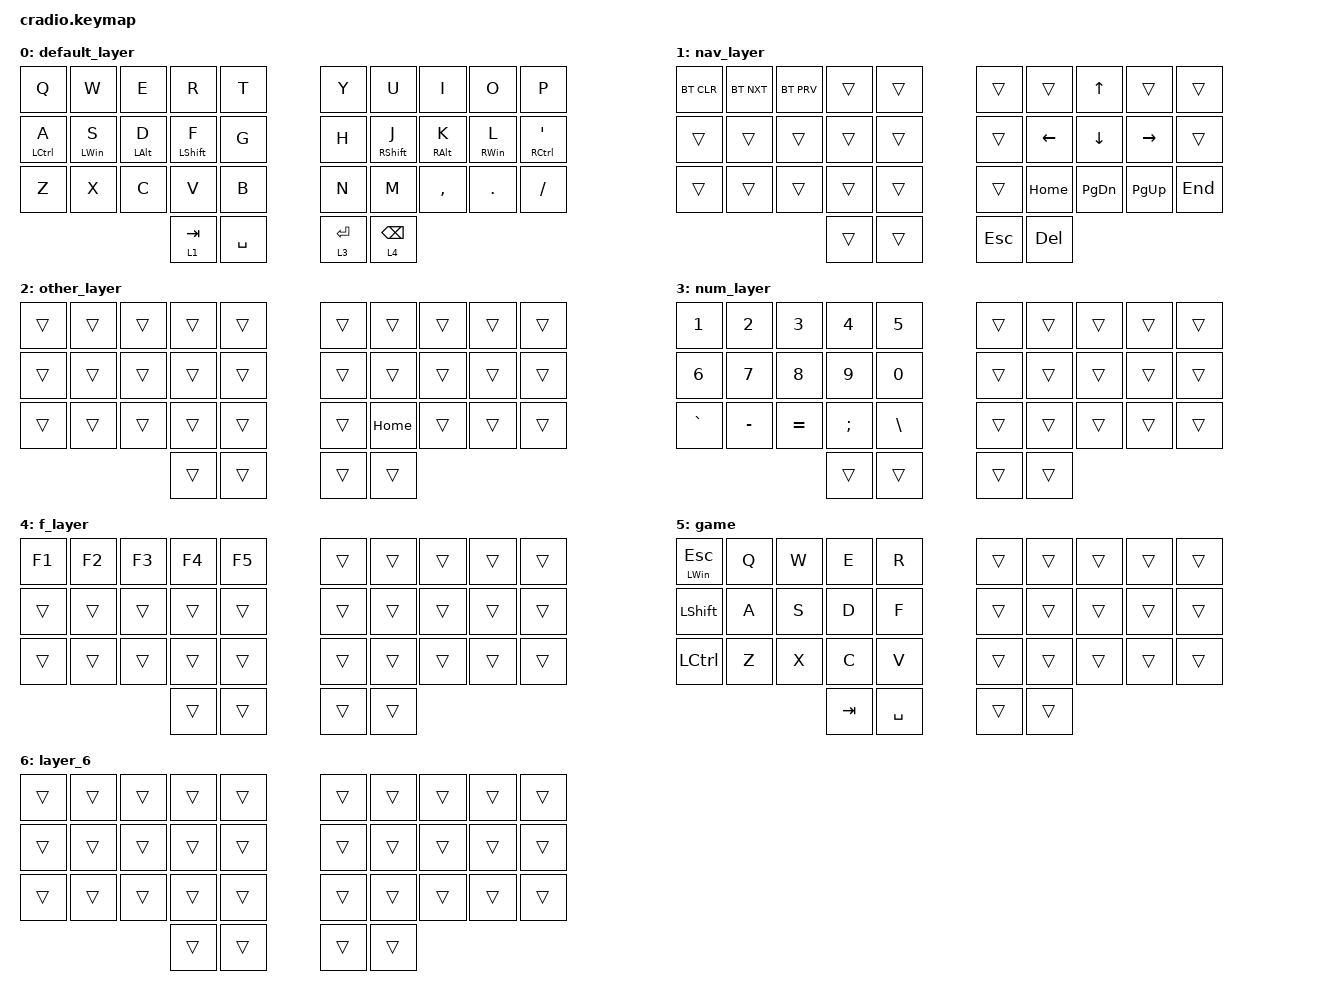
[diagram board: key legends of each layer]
/*
 * Copyright (c) 2020 The ZMK Contributors
 *
 * SPDX-License-Identifier: MIT
 */

#undef ZMK_BEHAVIORS_KEEP_ALL

#include <behaviors.dtsi>
#include <dt-bindings/zmk/bt.h>
#include <dt-bindings/zmk/keys.h>

#define NAV_L 1
#define OTHER_L 2
#define NUM_L 3
#define SYM_L 4

// Using layer taps on thumbs, having quick tap as well helps w/ repeating space/backspace

&lt { quick-tap-ms = <200>; };

/ {
    behaviors {
        hm: homerow_mods {
            compatible = "zmk,behavior-hold-tap";
            #binding-cells = <2>;
            tapping-term-ms = <200>;
            flavor = "tap-preferred";
            bindings = <&kp>, <&kp>;
        };
    };

    combos {
        compatible = "zmk,combos";

        game {
            bindings = <&to 5>;
            key-positions = <30 31 32 33>;
            layers = <0>;
        };

        exit {
            bindings = <&to 0>;
            key-positions = <29 19>;
            layers = <5>;
        };
    };

    keymap {
        compatible = "zmk,keymap";

        default_layer {
            bindings = <
&kp Q               &kp W           &kp E           &kp R        &kp T        &kp Y        &kp U        &kp I            &kp O            &kp P
&hm LEFT_CONTROL A  &hm LEFT_WIN S  &hm LEFT_ALT D  &hm LSHFT F  &kp G        &kp H        &hm RSHFT J  &hm RIGHT_ALT K  &hm RIGHT_WIN L  &hm RIGHT_CONTROL SQT
&kp Z               &kp X           &kp C           &kp V        &kp B        &kp N        &kp M        &kp COMMA        &kp DOT          &kp FSLH
                                                    &lt 1 TAB    &kp SPACE    &lt 3 ENTER  &lt 4 BSPC
            >;
        };

        nav_layer {
            bindings = <
&bt BT_CLR  &bt BT_NXT  &bt BT_PRV  &trans  &trans    &trans   &trans    &kp UP_ARROW  &trans     &trans
&trans      &trans      &trans      &trans  &trans    &trans   &kp LEFT  &kp DOWN      &kp RIGHT  &trans
&trans      &trans      &trans      &trans  &trans    &trans   &kp HOME  &kp PG_DN     &kp PG_UP  &kp END
                                    &trans  &trans    &kp ESC  &kp DEL
            >;
        };

        other_layer {
            bindings = <
&trans  &trans  &trans  &trans  &trans    &trans  &trans    &trans  &trans  &trans
&trans  &trans  &trans  &trans  &trans    &trans  &trans    &trans  &trans  &trans
&trans  &trans  &trans  &trans  &trans    &trans  &kp HOME  &trans  &trans  &trans
                        &trans  &trans    &trans  &trans
            >;
        };

        num_layer {
            bindings = <
&kp NUMBER_1  &kp NUMBER_2  &kp NUMBER_3  &kp NUMBER_4  &kp N5      &trans  &trans  &trans  &trans  &trans
&kp NUMBER_6  &kp N7        &kp N8        &kp N9        &kp N0      &trans  &trans  &trans  &trans  &trans
&kp GRAVE     &kp MINUS     &kp EQUAL     &kp SEMI      &kp BSLH    &trans  &trans  &trans  &trans  &trans
                                          &trans        &trans      &trans  &trans
            >;
        };

        f_layer {
            bindings = <
&kp F1  &kp F2  &kp F3  &kp F4  &kp F5    &trans  &trans  &trans  &trans  &trans
&trans  &trans  &trans  &trans  &trans    &trans  &trans  &trans  &trans  &trans
&trans  &trans  &trans  &trans  &trans    &trans  &trans  &trans  &trans  &trans
                        &trans  &trans    &trans  &trans
            >;
        };

        game {
            bindings = <
&hm LEFT_WIN ESCAPE  &kp Q  &kp W  &kp E    &kp R        &trans  &trans  &trans  &trans  &trans
&kp LEFT_SHIFT       &kp A  &kp S  &kp D    &kp F        &trans  &trans  &trans  &trans  &trans
&kp LEFT_CONTROL     &kp Z  &kp X  &kp C    &kp V        &trans  &trans  &trans  &trans  &trans
                                   &kp TAB  &kp SPACE    &trans  &trans
            >;
        };

        layer_6 {
            bindings = <
&trans  &trans  &trans  &trans  &trans    &trans  &trans  &trans  &trans  &trans
&trans  &trans  &trans  &trans  &trans    &trans  &trans  &trans  &trans  &trans
&trans  &trans  &trans  &trans  &trans    &trans  &trans  &trans  &trans  &trans
                        &trans  &trans    &trans  &trans
            >;
        };
    };
};
